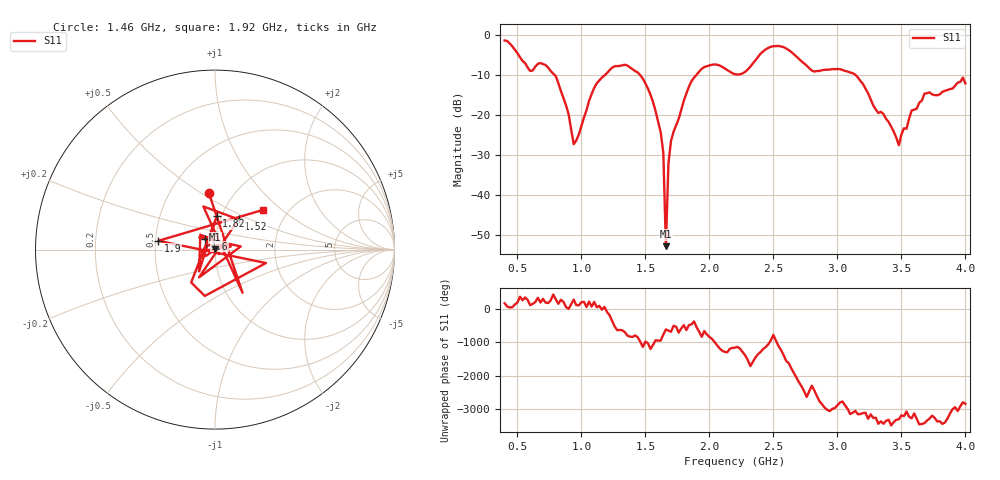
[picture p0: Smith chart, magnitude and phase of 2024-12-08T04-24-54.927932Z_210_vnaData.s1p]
!Created with skrf (http://scikit-rf.org).
# Hz S RI R 50.0
!freq ReS11 ImS11
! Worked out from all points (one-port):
!   181 points, 400 MHz to 4 GHz, reference 50 ohm
!   lowest |S11| = -52.8 dB at 1.66 GHz (marker M1), VSWR 1.00, Z = 49.9 + j0.219 ohm
!   |S11| at or under -10 dB: 791.3 MHz to 1.184 GHz (392.4 MHz wide, 39.7 % of centre); 1.459 GHz to 1.898 GHz (439.3 MHz wide, 26.2 % of centre); 3.143 GHz to end of sweep
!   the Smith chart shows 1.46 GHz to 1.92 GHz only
!   S11 on the Smith chart (normalised r, x): 1.46 GHz: 0.77, +0.54; 1.52 GHz: 1.22, +0.43; 1.6 GHz: 0.89, +0.11; 1.82 GHz: 0.95, +0.37; 1.9 GHz: 0.52, +0.06; 1.92 GHz: 1.51, +0.76
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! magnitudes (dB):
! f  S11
! 400 MHz  -1.3
! 600 MHz  -9.0
! 740 MHz  -8.1
! 860 MHz  -15.8
! 940 MHz  -27.3
! 1.12 GHz  -12.1
! 1.3 GHz  -7.7
! 1.46 GHz  -10.0
! 1.52 GHz  -13.4
! 1.6 GHz  -21.8
! 1.64 GHz  -29.5
! 1.66 GHz  -52.8
! 1.68 GHz  -32.1
! 1.7 GHz  -26.5
! 1.76 GHz  -21.0
! 1.82 GHz  -14.6
! 1.9 GHz  -9.9
! 1.92 GHz  -9.1
! 2.04 GHz  -7.3
! 2.2 GHz  -9.8
! 2.48 GHz  -2.9
! 2.66 GHz  -4.8
! 2.82 GHz  -9.1
! 3.1 GHz  -9.4
! 3.48 GHz  -27.6
! 3.56 GHz  -20.9
! 3.68 GHz  -14.7
! 4 GHz  -12.1
